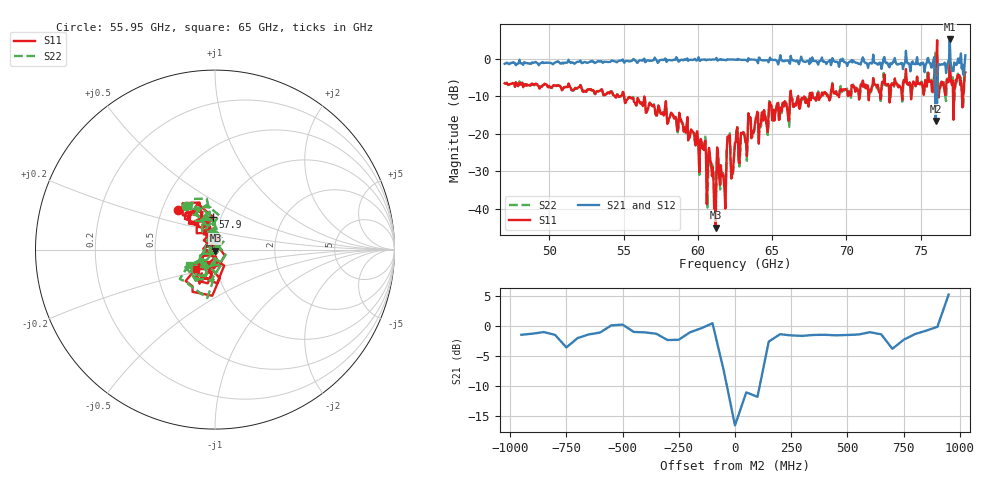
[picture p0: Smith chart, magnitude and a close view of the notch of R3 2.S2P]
! Python used to change reference impedance from 50 to 1.
# Hz S RI R 1
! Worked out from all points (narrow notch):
!   621 points, 47 GHz to 78 GHz, reference 1 ohm
!   highest |S21| = 5.28 dB at 76.95 GHz (marker M1); lowest = -16.6 dB at 76 GHz (marker M2)
!   notch at M2: 15.8 dB deep, 160 MHz wide at half that depth
!   lowest |S11| = -45.0 dB at 61.2 GHz (marker M3), VSWR 1.01, Z = 1 - j0.0102 ohm
!   |S11| at or under -10 dB: 55.03 GHz to 66.21 GHz (11.18 GHz wide, 18.4 % of centre); 66.29 GHz to 66.74 GHz (453.1 MHz wide, 0.681 % of centre); 66.75 GHz to 67.51 GHz (756 MHz wide, 1.13 % of centre)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
!   |S22| runs from -39.6 to 2.1 dB; largest |S21 - S12| = 0.56
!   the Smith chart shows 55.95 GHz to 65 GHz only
!   S11 on the Smith chart (normalised r, x): 55.95 GHz: 0.60, +0.29; 57.9 GHz: 0.92, +0.34; 65 GHz: 0.79, -0.17
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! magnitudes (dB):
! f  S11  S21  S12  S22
! 47 GHz  -6.5  -1.3  -1.3  -6.7
! 52.2 GHz  -8.1  -1.1  -1.1  -7.8
! 55.95 GHz  -10.4  -1.0  -1.0  -10.7
! 57.35 GHz  -12.5  -0.9  -0.9  -12.4
! 57.9 GHz  -14.9  -0.8  -0.8  -14.4
! 60.35 GHz  -23.7  -0.2  -0.2  -23.8
! 60.85 GHz  -27.6  -0.2  -0.2  -28.4
! 61.05 GHz  -32.0  -0.2  -0.2  -29.3
! 61.2 GHz  -45.0  -0.1  -0.1  -38.1
! 61.4 GHz  -29.3  -0.3  -0.3  -27.8
! 61.75 GHz  -32.7  -0.2  -0.2  -31.2
! 62.05 GHz  -20.9  -0.2  -0.2  -20.8
! 62.35 GHz  -30.3  -0.2  -0.2  -31.9
! 62.5 GHz  -22.5  -0.2  -0.2  -22.4
! 65 GHz  -16.3  -0.2  -0.2  -15.4
! 67.7 GHz  -9.0  0.4  0.4  -9.7
! 72.85 GHz  -7.1  -2.1  -2.1  -6.6
! 75.75 GHz  -8.6  -2.3  -2.3  -7.1
! 76 GHz  -13.3  -16.6  -16.6  2.1
! 76.3 GHz  -7.7  -1.6  -1.6  -7.7
! 76.95 GHz  -0.1  5.3  5.3  -0.7
! 78 GHz  -3.6  1.0  1.0  -2.8
